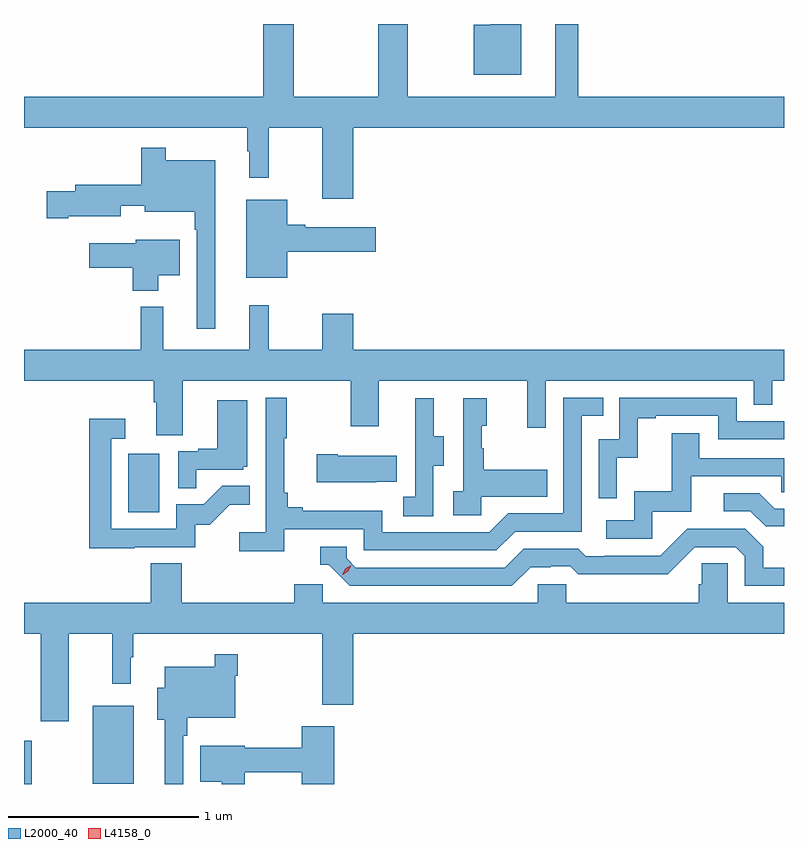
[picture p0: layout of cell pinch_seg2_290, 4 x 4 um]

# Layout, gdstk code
import gdstk
lib = gdstk.Library(unit=1e-6, precision=1e-09)
def R(c, l, rs):  # rectangles x0, y0, x1, y1
    for r in rs: c.add(gdstk.rectangle(r[:2], r[2:], *l))
def P(c, l, *ps):  # polygons
    for p in ps: c.add(gdstk.Polygon(p, *l))
L2000_40 = (2000, 40)
L4158_0 = (4158, 0)

pinch_seg2_290 = lib.new_cell('pinch_seg2_290')
R(pinch_seg2_290, L2000_40, [(942.659,636.19,942.7,636.418), (943.022,636.191,943.237,636.601), (943.208,637.62,943.372,637.927)])
P(pinch_seg2_290, L2000_40, [(944.392,639.644),(946.659,639.644),(946.659,639.808),(945.577,639.808),(945.577,640.19),(945.455,640.19),(945.455,639.808),(944.679,639.808),(944.679,640.19),(944.524,640.19),(944.524,639.808),(944.079,639.808),(944.079,640.19),(943.919,640.19),(943.919,639.808),(942.659,639.808),(942.659,639.644),(943.833,639.644),(943.833,639.521),(943.844,639.521),(943.844,639.381),(943.946,639.381),(943.946,639.644),(944.228,639.644),(944.228,639.27),(944.392,639.27)],
  [(945.277,640.19),(945.112,640.19),(945.112,640.186),(945.026,640.186),(945.026,639.923),(945.277,639.923)],
  [(943.666,639.472),(943.405,639.472),(943.405,639.538),(943.276,639.538),(943.276,639.343),(942.929,639.343),(942.929,639.309),(942.78,639.309),(942.78,639.167),(942.892,639.167),(942.892,639.179),(943.168,639.179),(943.168,639.233),(943.295,639.233),(943.295,639.203),(943.557,639.203),(943.557,639.107),(943.569,639.107),(943.569,638.586),(943.666,638.586)],
  [(944.044,638.992),(944.509,638.992),(944.509,639.121),(944.14,639.121),(944.14,639.134),(944.044,639.134),(944.044,639.265),(943.829,639.265),(943.829,638.855),(944.044,638.855)],
  [(943.366,638.867),(943.48,638.867),(943.48,639.055),(943.248,639.055),(943.248,639.037),(943.002,639.037),(943.002,638.908),(943.232,638.908),(943.232,638.786),(943.366,638.786)],
  [(943.495,638.312),(944.38,638.312),(944.38,638.073),(944.527,638.073),(944.527,638.312),(945.308,638.312),(945.308,638.064),(945.405,638.064),(945.405,638.312),(946.5,638.312),(946.5,638.185),(946.596,638.185),(946.596,638.312),(946.659,638.312),(946.659,638.476),(944.392,638.476),(944.392,638.665),(944.228,638.665),(944.228,638.476),(943.946,638.476),(943.946,638.71),(943.844,638.71),(943.844,638.476),(943.391,638.476),(943.391,638.701),(943.273,638.701),(943.273,638.476),(942.659,638.476),(942.659,638.312),(943.343,638.312),(943.343,638.2),(943.355,638.2),(943.355,638.026),(943.495,638.026)],
  [(944.03,637.53),(944.448,637.53),(944.448,637.419),(945.145,637.419),(945.244,637.518),(945.594,637.518),(945.594,638.127),(945.707,638.127),(945.707,638.223),(945.498,638.223),(945.498,637.614),(945.207,637.614),(945.108,637.515),(944.544,637.515),(944.544,637.627),(944.125,637.627),(944.125,637.646),(944.048,637.646),(944.048,637.723),(944.029,637.723),(944.029,638.011),(944.041,638.011),(944.041,638.224),(943.932,638.224),(943.932,637.516),(943.791,637.516),(943.791,637.414),(944.03,637.414)],
  [(945.78,637.907),(945.89,637.907),(945.89,638.115),(945.985,638.115),(945.985,638.127),(946.314,638.127),(946.314,638.004),(946.659,638.004),(946.659,638.1),(946.41,638.1),(946.41,638.223),(945.792,638.223),(945.792,638.004),(945.684,638.004),(945.684,637.695),(945.78,637.695)],
  [(944.814,637.864),(944.869,637.864),(944.869,638.019),(944.815,638.019),(944.815,638.221),(944.717,638.221),(944.717,638.007),(944.718,638.007),(944.718,637.703),(944.655,637.703),(944.655,637.6),(944.814,637.6)],
  [(945.066,637.703),(945.413,637.703),(945.413,637.843),(945.079,637.843),(945.079,637.958),(945.069,637.958),(945.069,638.076),(945.094,638.076),(945.094,638.221),(944.97,638.221),(944.97,637.73),(944.919,637.73),(944.919,637.605),(945.066,637.605)],
  [(943.565,637.845),(943.812,637.845),(943.812,637.86),(943.834,637.86),(943.834,638.209),(943.676,638.209),(943.676,637.954),(943.577,637.954),(943.577,637.941),(943.47,637.941),(943.47,637.747),(943.565,637.747)],
  [(943.241,637.437),(943.56,637.437),(943.56,637.554),(943.636,637.554),(943.743,637.661),(943.847,637.661),(943.847,637.76),(943.703,637.76),(943.605,637.662),(943.461,637.662),(943.461,637.533),(943.119,637.533),(943.119,638.007),(943.192,638.007),(943.192,638.113),(943.003,638.113),(943.003,637.432),(943.241,637.432)],
  [(945.966,637.623),(946.171,637.623),(946.171,637.809),(946.645,637.809),(946.645,637.725),(946.659,637.725),(946.659,637.905),(946.213,637.905),(946.213,638.035),(946.069,638.035),(946.069,637.732),(945.87,637.732),(945.87,637.578),(945.723,637.578),(945.723,637.482),(945.966,637.482)],
  [(944.513,637.781),(944.621,637.781),(944.621,637.918),(944.311,637.918),(944.311,637.926),(944.199,637.926),(944.199,637.778),(944.513,637.778)],
  [(946.659,637.638),(946.609,637.638),(946.528,637.719),(946.341,637.719),(946.341,637.626),(946.482,637.626),(946.562,637.546),(946.659,637.546)],
  [(945.325,637.332),(945.432,637.332),(945.432,637.335),(945.535,637.335),(945.577,637.293),(945.81,637.293),(945.81,637.295),(946.046,637.295),(946.188,637.437),(946.404,637.437),(946.452,637.389),(946.452,637.233),(946.659,637.233),(946.659,637.329),(946.549,637.329),(946.549,637.439),(946.455,637.533),(946.149,637.533),(946.008,637.392),(945.715,637.392),(945.715,637.389),(945.616,637.389),(945.577,637.428),(945.288,637.428),(945.189,637.329),(944.406,637.329),(944.358,637.377),(944.358,637.44),(944.219,637.44),(944.219,637.344),(944.262,637.344),(944.373,637.233),(945.226,637.233)],
  [(942.895,636.98),(943.123,636.98),(943.123,636.717),(943.222,636.717),(943.222,636.857),(943.234,636.857),(943.234,636.98),(944.228,636.98),(944.228,636.606),(944.392,636.606),(944.392,636.98),(946.659,636.98),(946.659,637.144),(946.362,637.144),(946.362,637.352),(946.225,637.352),(946.225,637.242),(946.211,637.242),(946.211,637.144),(945.513,637.144),(945.513,637.242),(945.363,637.242),(945.363,637.144),(944.232,637.144),(944.232,637.242),(944.081,637.242),(944.081,637.144),(943.49,637.144),(943.49,637.352),(943.325,637.352),(943.325,637.144),(942.659,637.144),(942.659,636.98),(942.748,636.98),(942.748,636.519),(942.895,636.519)],
  [(943.497,636.443),(943.517,636.443),(943.517,636.539),(943.77,636.539),(943.77,636.761),(943.783,636.761),(943.783,636.874),(943.662,636.874),(943.662,636.808),(943.4,636.808),(943.4,636.697),(943.361,636.697),(943.361,636.527),(943.4,636.527),(943.4,636.19),(943.497,636.19)],
  [(943.822,636.252),(944.12,636.252),(944.12,636.19),(944.291,636.19),(944.291,636.493),(944.12,636.493),(944.12,636.38),(943.822,636.38),(943.822,636.391),(943.586,636.391),(943.586,636.203),(943.7,636.203),(943.7,636.19),(943.822,636.19)])
P(pinch_seg2_290, L4158_0, [(944.335,637.291),(944.335,637.291),(944.351,637.323),(944.382,637.342),(944.382,637.342),(944.382,637.342),(944.366,637.31),(944.336,637.291)])

lib.write_gds('pinch_seg2_290.gds')
